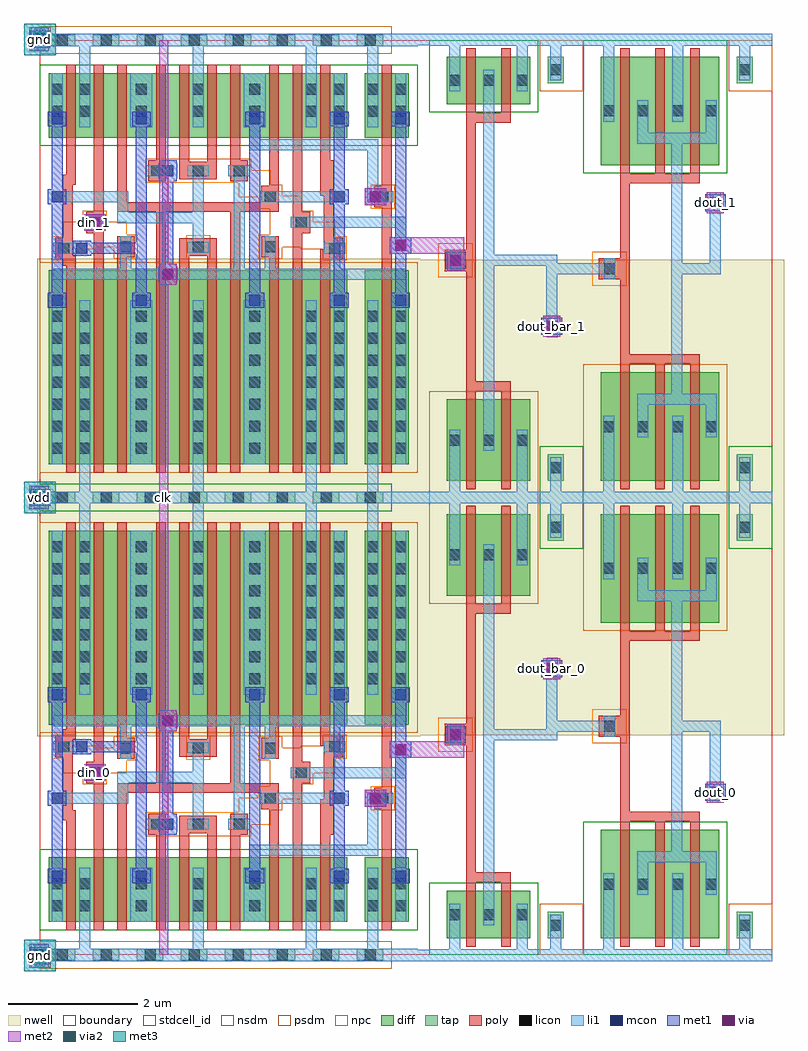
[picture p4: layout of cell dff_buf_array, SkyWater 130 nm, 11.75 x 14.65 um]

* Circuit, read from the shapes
.subckt dff_buf_array clk din_0 din_1 dout_0 dout_1 dout_bar_0 dout_bar_1 gnd vdd
XM1 gnd n1 n2 gnd sky130_fd_pr__nfet_01v8 w=1 l=0.15
XM2 gnd n3 n4 gnd sky130_fd_pr__nfet_01v8 w=1 l=0.15
XM3 n5 din_0 gnd gnd sky130_fd_pr__nfet_01v8 w=1 l=0.15
XM4 n6 din_1 gnd gnd sky130_fd_pr__nfet_01v8 w=1 l=0.15
XM5 n1 n7 n5 gnd sky130_fd_pr__nfet_01v8 w=1 l=0.15
XM6 n3 n8 n6 gnd sky130_fd_pr__nfet_01v8 w=1 l=0.15
XM7 n9 clk n1 gnd sky130_fd_pr__nfet_01v8 w=1 l=0.15
XM8 n10 clk n3 gnd sky130_fd_pr__nfet_01v8 w=1 l=0.15
XM9 gnd n2 n9 gnd sky130_fd_pr__nfet_01v8 w=1 l=0.15
XM10 gnd n4 n10 gnd sky130_fd_pr__nfet_01v8 w=1 l=0.15
XM11 n11 n2 gnd gnd sky130_fd_pr__nfet_01v8 w=1 l=0.15
XM12 n12 n4 gnd gnd sky130_fd_pr__nfet_01v8 w=1 l=0.15
XM13 dff_buf_0_0/dff_0/ON clk n11 gnd sky130_fd_pr__nfet_01v8 w=1 l=0.15
XM14 dff_buf_0_1/dff_0/ON clk n12 gnd sky130_fd_pr__nfet_01v8 w=1 l=0.15
XM15 n13 n7 dff_buf_0_0/dff_0/ON gnd sky130_fd_pr__nfet_01v8 w=1 l=0.15
XM16 n14 n8 dff_buf_0_1/dff_0/ON gnd sky130_fd_pr__nfet_01v8 w=1 l=0.15
XM17 gnd dff_buf_0_0/pinv_1/A n13 gnd sky130_fd_pr__nfet_01v8 w=1 l=0.15
XM18 gnd dff_buf_0_1/pinv_1/A n14 gnd sky130_fd_pr__nfet_01v8 w=1 l=0.15
XM19 n7 clk gnd gnd sky130_fd_pr__nfet_01v8 w=1 l=0.15
XM20 n8 clk gnd gnd sky130_fd_pr__nfet_01v8 w=1 l=0.15
XM21 dff_buf_0_0/pinv_1/A dff_buf_0_0/dff_0/ON gnd gnd sky130_fd_pr__nfet_01v8 w=1 l=0.15
XM22 dff_buf_0_1/pinv_1/A dff_buf_0_1/dff_0/ON gnd gnd sky130_fd_pr__nfet_01v8 w=1 l=0.15
XM23 dout_bar_0 dff_buf_0_0/pinv_1/A gnd gnd sky130_fd_pr__nfet_01v8 w=0.74 l=0.15 m=2
XM24 dout_bar_1 dff_buf_0_1/pinv_1/A gnd gnd sky130_fd_pr__nfet_01v8 w=0.74 l=0.15 m=2
XM25 dout_0 dout_bar_0 gnd gnd sky130_fd_pr__nfet_01v8 w=1.68 l=0.15 m=3
XM26 dout_1 dout_bar_1 gnd gnd sky130_fd_pr__nfet_01v8 w=1.68 l=0.15 m=3
XM27 vdd n1 n2 vdd sky130_fd_pr__pfet_01v8 w=3 l=0.15
XM28 vdd n3 n4 vdd sky130_fd_pr__pfet_01v8 w=3 l=0.15
XM29 n15 din_0 vdd vdd sky130_fd_pr__pfet_01v8 w=3 l=0.15
XM30 n16 din_1 vdd vdd sky130_fd_pr__pfet_01v8 w=3 l=0.15
XM31 n1 clk n15 vdd sky130_fd_pr__pfet_01v8 w=3 l=0.15
XM32 n3 clk n16 vdd sky130_fd_pr__pfet_01v8 w=3 l=0.15
XM33 n17 n7 n1 vdd sky130_fd_pr__pfet_01v8 w=3 l=0.15
XM34 n18 n8 n3 vdd sky130_fd_pr__pfet_01v8 w=3 l=0.15
XM35 vdd n2 n17 vdd sky130_fd_pr__pfet_01v8 w=3 l=0.15
XM36 vdd n4 n18 vdd sky130_fd_pr__pfet_01v8 w=3 l=0.15
XM37 n19 n2 vdd vdd sky130_fd_pr__pfet_01v8 w=3 l=0.15
XM38 n20 n4 vdd vdd sky130_fd_pr__pfet_01v8 w=3 l=0.15
XM39 dff_buf_0_0/dff_0/ON n7 n19 vdd sky130_fd_pr__pfet_01v8 w=3 l=0.15
XM40 dff_buf_0_1/dff_0/ON n8 n20 vdd sky130_fd_pr__pfet_01v8 w=3 l=0.15
XM41 n21 clk dff_buf_0_0/dff_0/ON vdd sky130_fd_pr__pfet_01v8 w=3 l=0.15
XM42 n22 clk dff_buf_0_1/dff_0/ON vdd sky130_fd_pr__pfet_01v8 w=3 l=0.15
XM43 vdd dff_buf_0_0/pinv_1/A n21 vdd sky130_fd_pr__pfet_01v8 w=3 l=0.15
XM44 vdd dff_buf_0_1/pinv_1/A n22 vdd sky130_fd_pr__pfet_01v8 w=3 l=0.15
XM45 n7 clk vdd vdd sky130_fd_pr__pfet_01v8 w=3 l=0.15
XM46 n8 clk vdd vdd sky130_fd_pr__pfet_01v8 w=3 l=0.15
XM47 dff_buf_0_0/pinv_1/A dff_buf_0_0/dff_0/ON vdd vdd sky130_fd_pr__pfet_01v8 w=3 l=0.15
XM48 dff_buf_0_1/pinv_1/A dff_buf_0_1/dff_0/ON vdd vdd sky130_fd_pr__pfet_01v8 w=3 l=0.15
XM49 dout_bar_0 dff_buf_0_0/pinv_1/A vdd vdd sky130_fd_pr__pfet_01v8 w=1.26 l=0.15 m=2
XM50 dout_bar_1 dff_buf_0_1/pinv_1/A vdd vdd sky130_fd_pr__pfet_01v8 w=1.26 l=0.15 m=2
XM51 dout_0 dout_bar_0 vdd vdd sky130_fd_pr__pfet_01v8 w=1.68 l=0.15 m=3
XM52 dout_1 dout_bar_1 vdd vdd sky130_fd_pr__pfet_01v8 w=1.68 l=0.15 m=3
.ends

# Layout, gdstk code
import gdstk
lib = gdstk.Library(unit=1e-6, precision=1e-09)
def R(c, l, rs):  # rectangles x0, y0, x1, y1
    for r in rs: c.add(gdstk.rectangle(r[:2], r[2:], *l))
def A(c, l, x, y, w, h, nx, ny, dx, dy):  # array of equal rectangles
    R(c, l, [(x+i*dx, y+j*dy, x+i*dx+w, y+j*dy+h) for i in range(nx) for j in range(ny)])
nwell = (64, 20)
diff = (65, 20)
tap = (65, 44)
poly = (66, 20)
licon = (66, 44)
li1 = (67, 20)
mcon = (67, 44)
met1 = (68, 20)
via = (68, 44)
met2 = (69, 20)
via2 = (69, 44)
met3 = (70, 20)
stdcell_id = (81, 4)
nsdm = (93, 44)
psdm = (94, 20)
npc = (95, 20)
boundary = (235, 4)

dff = lib.new_cell('dff')
R(dff, nwell, [(-0.04,3.38,5.88,7.335)])
R(dff, diff, [(0.14,0.51,4.75,1.51), (5.02,0.51,5.7,1.51), (0.14,3.56,4.75,6.56), (5.02,3.56,5.7,6.56)])
A(dff, tap, 0.14, -0.085, 0.41, 0.17, 8, 2, 0.68, 7.07)
R(dff, poly, [(0.405,0.38,0.555,2.085), (0.835,0.38,0.985,2.655), (1.195,0.38,1.345,2.505), (1.795,0.38,1.945,1.855), (2.155,0.38,2.305,1.885), (2.585,0.38,2.735,1.885), (2.945,0.38,3.095,1.855), (3.545,0.38,3.695,2.255), (3.905,0.38,4.055,2.655), (4.335,0.38,4.485,1.855), (5.285,0.38,5.435,2.255), (1.675,1.855,1.945,2.185), (2.945,1.855,3.215,2.185), (4.335,1.855,4.54,2.405), (2.155,1.885,2.735,2.155), (0.355,2.085,0.555,2.235), (0.355,2.235,0.505,3.055), (3.425,2.255,3.695,2.505), (5.165,2.255,5.435,2.585), (4.39,2.405,4.54,3.055), (1.195,2.505,3.695,2.655), (5.285,2.585,5.435,6.69), (0.715,2.655,0.985,2.985), (1.795,2.655,1.945,6.69), (2.945,2.655,3.095,6.69), (3.905,2.655,4.175,2.985), (0.835,2.985,0.985,6.69), (3.905,2.985,4.055,6.69), (1.195,3.03,1.465,3.36), (3.425,3.03,3.695,3.36), (0.235,3.055,0.505,3.335), (4.39,3.055,4.69,3.235), (2.155,3.065,2.735,3.335), (4.335,3.235,4.69,3.385), (0.235,3.335,0.555,3.385), (2.155,3.335,2.305,6.69), (2.585,3.335,2.735,6.69), (1.195,3.36,1.345,6.69), (3.545,3.36,3.695,6.69), (0.35,3.385,0.555,3.485), (4.335,3.385,4.485,6.69), (0.405,3.485,0.555,6.69)])
A(dff, licon, 0.26, -0.085, 0.17, 0.17, 8, 2, 0.68, 7.07)
A(dff, licon, 0.61, 0.675, 0.17, 0.17, 5, 2, 0.875, 0.34)
A(dff, licon, 1.725, 1.935, 0.17, 0.17, 3, 1, 0.635, 0)
A(dff, licon, 0.18, 4.185, 0.17, 0.17, 1, 7, 0, 0.34)
A(dff, licon, 0.61, 4.185, 0.17, 0.17, 5, 7, 0.875, 0.34)
A(dff, licon, 4.54, 4.185, 0.17, 0.17, 1, 7, 0, 0.34)
A(dff, licon, 5.06, 4.185, 0.17, 0.17, 1, 7, 0, 0.34)
A(dff, licon, 5.49, 4.185, 0.17, 0.17, 1, 7, 0, 0.34)
R(dff, licon, [(0.18,0.675,0.35,0.845), (4.54,0.675,4.71,0.845), (5.06,0.675,5.23,0.845), (5.49,0.675,5.66,0.845), (0.18,1.015,0.35,1.185), (4.54,1.015,4.71,1.185), (5.06,1.015,5.23,1.185), (5.49,1.015,5.66,1.185), (3.475,2.335,3.645,2.505), (5.215,2.335,5.385,2.505), (0.765,2.735,0.935,2.905), (3.955,2.735,4.125,2.905), (1.245,3.11,1.415,3.28), (3.475,3.11,3.645,3.28), (2.36,3.115,2.53,3.285), (0.285,3.135,0.455,3.305), (4.47,3.135,4.64,3.305)])
A(dff, li1, 0.61, 0.1, 0.17, 1.25, 3, 1, 1.75, 0)
A(dff, li1, 0.61, 4.02, 0.17, 2.96, 3, 1, 1.75, 0)
R(dff, li1, [(0,-0.1,5.84,0.1), (0,-0.1,5.84,0.1), (5.06,0.1,5.23,1.35), (0.18,0.51,0.35,1.35), (1.4,0.51,1.74,1.35), (3.15,0.51,3.49,1.35), (4.54,0.51,4.71,1.355), (5.49,0.51,5.66,1.355), (3.235,1.35,3.405,1.535), (3.235,1.535,5.23,1.705), (5.06,1.705,5.23,2.335), (1.64,1.935,2.065,2.105), (2.28,1.935,2.61,2.105), (2.915,1.935,3.245,2.105), (2.36,2.105,2.53,2.66), (2.995,2.105,3.165,3.535), (0.18,2.335,1.365,2.505), (3.395,2.335,4.71,2.505), (5.06,2.335,5.465,2.505), (1.195,2.505,1.365,2.66), (1.195,2.66,2.53,2.83), (0.685,2.735,1.015,2.905), (3.875,2.735,5.66,2.905), (2.36,2.83,2.53,3.115), (5.49,2.905,5.66,3.26), (1.245,3.03,1.415,3.535), (3.475,3.03,3.645,3.535), (2.28,3.115,2.61,3.285), (0.205,3.135,0.735,3.305), (4.39,3.135,4.72,3.305), (4.47,3.305,4.64,3.535), (0.205,3.535,5.66,3.705), (0.18,3.935,0.35,6.56), (1.485,3.935,1.655,4.02), (3.235,3.935,3.405,4.02), (4.54,3.935,4.71,6.56), (5.49,3.935,5.66,6.56), (1.4,4.02,1.74,6.56), (3.15,4.02,3.49,6.56), (5.06,4.02,5.23,6.98), (0,6.98,5.84,7.16), (0,6.98,5.84,7.16)])
R(dff, mcon, [(0.18,1.135,0.35,1.305), (1.485,1.135,1.655,1.305), (3.235,1.135,3.405,1.305), (4.54,1.135,4.71,1.305), (5.49,1.135,5.66,1.305), (1.895,1.935,2.065,2.105), (0.18,2.335,0.35,2.505), (4.54,2.335,4.71,2.505), (5.1,2.335,5.27,2.505), (0.765,2.735,0.935,2.905), (5.49,3.09,5.66,3.26), (0.565,3.135,0.735,3.305), (1.895,3.535,2.065,3.705), (0.18,3.935,0.35,4.105), (1.485,3.935,1.655,4.105), (3.235,3.935,3.405,4.105), (4.54,3.935,4.71,4.105), (5.49,3.935,5.66,4.105)])
R(dff, met1, [(0.12,1.105,0.41,1.335), (1.425,1.105,1.715,1.335), (3.175,1.105,3.465,1.335), (4.48,1.105,4.77,1.335), (5.43,1.105,5.72,1.335), (0.18,1.335,0.35,2.305), (1.485,1.335,1.655,3.135), (3.235,1.335,3.405,3.905), (4.54,1.335,4.71,2.305), (5.49,1.335,5.66,3.045), (1.845,1.86,2.115,1.905), (1.835,1.905,2.125,2.135), (1.845,2.135,2.115,2.18), (1.895,2.18,2.065,3.46), (5.02,2.29,5.35,2.55), (0.12,2.305,0.41,2.535), (4.48,2.305,4.77,2.535), (0.18,2.535,0.35,3.905), (4.54,2.535,4.71,3.905), (0.685,2.69,1.015,2.95), (5.41,3.045,5.74,3.305), (0.505,3.105,0.795,3.135), (0.505,3.135,1.655,3.305), (0.505,3.305,0.795,3.335), (1.485,3.305,1.655,3.905), (5.49,3.305,5.66,3.905), (1.845,3.46,2.115,3.505), (1.835,3.505,2.125,3.735), (1.845,3.735,2.115,3.78), (0.12,3.905,0.41,4.135), (1.425,3.905,1.715,4.135), (3.175,3.905,3.465,4.135), (4.48,3.905,4.77,4.135), (5.43,3.905,5.72,4.135)])
R(dff, via, [(5.11,2.345,5.26,2.495), (0.775,2.745,0.925,2.895), (5.5,3.1,5.65,3.25), (1.905,3.545,2.055,3.695)])
R(dff, met2, [(5.02,2.29,5.35,2.55), (0.685,2.69,1.015,2.95), (0.685,2.69,1.015,2.95), (5.41,3.045,5.74,3.305), (5.41,3.045,5.74,3.305), (1.845,3.46,2.115,3.78), (1.845,3.46,2.115,3.78)])
R(dff, stdcell_id, [(0,0,5.84,7.07)])
R(dff, nsdm, [(0,0.385,5.84,1.635), (0,6.86,5.435,7.07), (0,7.07,5.435,7.28)])
R(dff, psdm, [(0,-0.21,5.435,0), (0,0,5.435,0.21), (0,3.435,5.84,6.685)])
R(dff, npc, [(1.625,1.835,3.265,2.01), (1.625,2.01,3.57,2.205), (3.07,2.205,3.57,2.235), (3.07,2.235,3.745,2.41), (5.115,2.235,5.485,2.605), (3.07,2.41,4.05,2.43), (3.375,2.43,4.05,2.605), (3.55,2.605,4.05,2.635), (0.665,2.635,1.035,2.81), (3.55,2.635,4.225,2.81), (0.36,2.81,1.34,3.01), (3.55,2.81,4.565,3.01), (0.36,3.01,1.515,3.035), (3.375,3.01,4.565,3.035), (2.26,3.015,2.63,3.385), (0.185,3.035,1.515,3.205), (3.375,3.035,4.74,3.205), (0.185,3.205,0.86,3.23), (1.145,3.205,1.515,3.38), (3.375,3.205,3.745,3.38), (4.03,3.205,4.74,3.23), (0.185,3.23,0.555,3.405), (4.37,3.23,4.74,3.405)])
R(dff, boundary, [(0,0,5.84,7.07)])
dff.add(gdstk.Label('gnd', (2.72,0), layer=67, texttype=20))
dff.add(gdstk.Label('vdd', (2.74,7.08), layer=67, texttype=20))
dff.add(gdstk.Label('Q', (5.73,3.295), layer=69, texttype=16))
dff.add(gdstk.Label('clk', (2.095,3.765), layer=69, texttype=16))
dff.add(gdstk.Label('ON', (5.035,2.52), layer=69, texttype=16))
dff.add(gdstk.Label('D', (0.695,2.93), layer=69, texttype=16))
dff.add(gdstk.Label('clk', (1.98,3.62), layer=69, texttype=16))
dff.add(gdstk.Label('vdd', (2.92,7.07), layer=67, texttype=16))
dff.add(gdstk.Label('Q', (5.575,3.175), layer=69, texttype=16))
dff.add(gdstk.Label('D', (0.85,2.82), layer=69, texttype=16))
dff.add(gdstk.Label('gnd', (2.92,0), layer=67, texttype=16))

contact_11 = lib.new_cell('contact_11')
R(contact_11, nwell, [(-0.295,-0.255,0.545,0.585)])
R(contact_11, diff, [(0,0.02,0.25,0.31)])
R(contact_11, licon, [(0.04,0.08,0.21,0.25)])
R(contact_11, li1, [(0.04,0,0.21,0.33)])
R(contact_11, stdcell_id, [(-0.295,-0.255,0.545,0.585)])
R(contact_11, psdm, [(-0.125,-0.105,0.375,0.435)])
R(contact_11, boundary, [(-0.295,-0.255,0.545,0.585)])

pmos_m2_w1_260_sli_dli_d = lib.new_cell('pmos_m2_w1_260_sli_dli_da_p')
R(pmos_m2_w1_260_sli_dli_d, nwell, [(-0.27,-0.27,1.56,1.53)])
R(pmos_m2_w1_260_sli_dli_d, diff, [(0,0,1.29,1.26)])
R(pmos_m2_w1_260_sli_dli_d, poly, [(0.3,-0.28,0.99,-0.13), (0.3,-0.13,0.45,1.39), (0.84,-0.13,0.99,1.39)])
A(pmos_m2_w1_260_sli_dli_d, li1, 0.04, 0.465, 0.17, 0.33, 3, 1, 0.52, 0)
R(pmos_m2_w1_260_sli_dli_d, stdcell_id, [(-0.27,-0.27,1.56,1.53)])
R(pmos_m2_w1_260_sli_dli_d, psdm, [(-0.125,-0.125,1.415,1.385)])
R(pmos_m2_w1_260_sli_dli_d, boundary, [(-0.27,-0.27,1.56,1.53)])
pmos_m2_w1_260_sli_dli_d.add(gdstk.Reference(contact_11, (0,0.465)))
pmos_m2_w1_260_sli_dli_d.add(gdstk.Reference(contact_11, (0.52,0.465)))
pmos_m2_w1_260_sli_dli_d.add(gdstk.Reference(contact_11, (1.04,0.465)))
pmos_m2_w1_260_sli_dli_d.add(gdstk.Label('D', (0.645,0.63), layer=67, texttype=16))
pmos_m2_w1_260_sli_dli_d.add(gdstk.Label('S', (0.125,0.63), layer=67, texttype=16))
pmos_m2_w1_260_sli_dli_d.add(gdstk.Label('S', (1.165,0.63), layer=67, texttype=16))
pmos_m2_w1_260_sli_dli_d.add(gdstk.Label('G', (0.645,-0.205), layer=66, texttype=16))

contact_17 = lib.new_cell('contact_17')
R(contact_17, diff, [(0,0.02,0.25,0.31)])
R(contact_17, licon, [(0.04,0.08,0.21,0.25)])
R(contact_17, li1, [(0.04,0,0.21,0.33)])
R(contact_17, stdcell_id, [(-0.125,-0.105,0.375,0.435)])
R(contact_17, nsdm, [(-0.125,-0.105,0.375,0.435)])
R(contact_17, boundary, [(-0.125,-0.105,0.375,0.435)])

nmos_m2_w0_740_sli_dli_d = lib.new_cell('nmos_m2_w0_740_sli_dli_da_p')
R(nmos_m2_w0_740_sli_dli_d, diff, [(0,0,1.29,0.74)])
R(nmos_m2_w0_740_sli_dli_d, poly, [(0.3,-0.13,0.45,0.87), (0.84,-0.13,0.99,0.87), (0.3,0.87,0.99,1.02)])
A(nmos_m2_w0_740_sli_dli_d, li1, 0.04, 0.205, 0.17, 0.33, 3, 1, 0.52, 0)
R(nmos_m2_w0_740_sli_dli_d, stdcell_id, [(-0.125,-0.13,1.415,0.87)])
R(nmos_m2_w0_740_sli_dli_d, nsdm, [(-0.125,-0.125,1.415,0.865)])
R(nmos_m2_w0_740_sli_dli_d, boundary, [(-0.125,-0.13,1.415,0.87)])
nmos_m2_w0_740_sli_dli_d.add(gdstk.Reference(contact_17, (0,0.205)))
nmos_m2_w0_740_sli_dli_d.add(gdstk.Reference(contact_17, (0.52,0.205)))
nmos_m2_w0_740_sli_dli_d.add(gdstk.Reference(contact_17, (1.04,0.205)))
nmos_m2_w0_740_sli_dli_d.add(gdstk.Label('D', (0.645,0.37), layer=67, texttype=16))
nmos_m2_w0_740_sli_dli_d.add(gdstk.Label('S', (0.125,0.37), layer=67, texttype=16))
nmos_m2_w0_740_sli_dli_d.add(gdstk.Label('S', (1.165,0.37), layer=67, texttype=16))
nmos_m2_w0_740_sli_dli_d.add(gdstk.Label('G', (0.645,0.945), layer=66, texttype=16))

contact_24 = lib.new_cell('contact_24')
R(contact_24, nwell, [(-0.295,-0.215,0.545,0.625)])
R(contact_24, tap, [(0,0,0.25,0.41)])
R(contact_24, licon, [(0.04,0.12,0.21,0.29)])
R(contact_24, li1, [(0.04,0.04,0.21,0.37)])
R(contact_24, stdcell_id, [(-0.295,-0.215,0.545,0.625)])
R(contact_24, nsdm, [(-0.125,-0.125,0.375,0.535)])
R(contact_24, boundary, [(-0.295,-0.215,0.545,0.625)])

contact_25 = lib.new_cell('contact_25')
R(contact_25, tap, [(0,0,0.25,0.41)])
R(contact_25, licon, [(0.04,0.12,0.21,0.29)])
R(contact_25, li1, [(0.04,0.04,0.21,0.37)])
R(contact_25, stdcell_id, [(-0.125,-0.125,0.375,0.535)])
R(contact_25, psdm, [(-0.125,-0.125,0.375,0.535)])
R(contact_25, boundary, [(-0.125,-0.125,0.375,0.535)])

contact_12 = lib.new_cell('contact_12')
R(contact_12, poly, [(0,0,0.33,0.33)])
R(contact_12, licon, [(0.08,0.08,0.25,0.25)])
R(contact_12, li1, [(0.08,0,0.25,0.33)])
R(contact_12, stdcell_id, [(-0.1,-0.1,0.43,0.43)])
R(contact_12, npc, [(-0.1,-0.1,0.43,0.43)])
R(contact_12, boundary, [(-0.1,-0.1,0.43,0.43)])

pinv = lib.new_cell('pinv')
R(pinv, nwell, [(-0.18,3.395,2.56,7.355)])
R(pinv, poly, [(0.57,1.275,0.72,5.275), (0.405,3.24,0.57,3.57)])
R(pinv, li1, [(0,-0.085,2.38,0.085), (0.31,-0.085,0.48,0.46), (1.35,-0.085,1.52,0.46), (1.87,0,2.04,0.46), (0.83,0.46,1,6.35), (0.32,3.24,0.49,3.57), (0.915,3.32,1.085,3.49), (0.31,6.02,0.48,7.155), (1.35,6.02,1.52,7.155), (1.87,6.61,2.04,7.07), (0,6.985,2.38,7.155)])
R(pinv, stdcell_id, [(0,0,2.38,7.07), (0,0,2.38,7.07)])
R(pinv, nsdm, [(0,0,1.685,1.12), (1.705,6.28,2.38,7.07)])
R(pinv, psdm, [(1.705,0,2.38,0.79), (0,5.43,1.685,7.07)])
R(pinv, boundary, [(0,0,2.38,7.07), (0,0,2.38,7.07)])
pinv.add(gdstk.Reference(pmos_m2_w1_260_sli_dli_d, (0.27,5.555)))
pinv.add(gdstk.Reference(nmos_m2_w0_740_sli_dli_d, (0.27,0.255)))
pinv.add(gdstk.Reference(contact_24, (1.83,6.405)))
pinv.add(gdstk.Reference(contact_25, (1.83,0.255)))
pinv.add(gdstk.Reference(contact_12, (0.24,3.24)))
pinv.add(gdstk.Label('vdd', (1.19,7.07), layer=67, texttype=16))
pinv.add(gdstk.Label('gnd', (1.19,0), layer=67, texttype=16))
pinv.add(gdstk.Label('Z', (1,3.405), layer=67, texttype=16))
pinv.add(gdstk.Label('A', (0.405,3.405), layer=67, texttype=16))

pmos_m3_w1_680_sli_dli_d = lib.new_cell('pmos_m3_w1_680_sli_dli_da_p')
R(pmos_m3_w1_680_sli_dli_d, nwell, [(-0.27,-0.27,2.1,1.95)])
R(pmos_m3_w1_680_sli_dli_d, diff, [(0,0,1.83,1.68)])
A(pmos_m3_w1_680_sli_dli_d, poly, 0.3, -0.13, 0.15, 1.94, 3, 1, 0.54, 0)
R(pmos_m3_w1_680_sli_dli_d, poly, [(0.3,-0.28,1.53,-0.13)])
R(pmos_m3_w1_680_sli_dli_d, li1, [(0.56,0.335,1.79,0.505), (0.56,0.42,0.73,0.84), (1.62,0.42,1.79,0.84), (0.04,0.675,0.21,1.005), (1.1,0.675,1.27,1.005)])
R(pmos_m3_w1_680_sli_dli_d, stdcell_id, [(-0.27,-0.27,2.1,1.95)])
R(pmos_m3_w1_680_sli_dli_d, psdm, [(-0.125,-0.125,1.955,1.805)])
R(pmos_m3_w1_680_sli_dli_d, boundary, [(-0.27,-0.27,2.1,1.95)])
pmos_m3_w1_680_sli_dli_d.add(gdstk.Reference(contact_11, (0,0.675)))
pmos_m3_w1_680_sli_dli_d.add(gdstk.Reference(contact_11, (0.52,0.675)))
pmos_m3_w1_680_sli_dli_d.add(gdstk.Reference(contact_11, (1.06,0.675)))
pmos_m3_w1_680_sli_dli_d.add(gdstk.Reference(contact_11, (1.58,0.675)))
pmos_m3_w1_680_sli_dli_d.add(gdstk.Label('D', (1.175,0.42), layer=67, texttype=16))
pmos_m3_w1_680_sli_dli_d.add(gdstk.Label('S', (1.185,0.84), layer=67, texttype=16))
pmos_m3_w1_680_sli_dli_d.add(gdstk.Label('S', (0.125,0.84), layer=67, texttype=16))
pmos_m3_w1_680_sli_dli_d.add(gdstk.Label('G', (0.915,-0.205), layer=66, texttype=16))

nmos_m3_w1_680_sli_dli_d = lib.new_cell('nmos_m3_w1_680_sli_dli_da_p')
R(nmos_m3_w1_680_sli_dli_d, diff, [(0,0,1.83,1.68)])
A(nmos_m3_w1_680_sli_dli_d, poly, 0.3, -0.13, 0.15, 1.94, 3, 1, 0.54, 0)
R(nmos_m3_w1_680_sli_dli_d, poly, [(0.3,1.81,1.53,1.96)])
R(nmos_m3_w1_680_sli_dli_d, li1, [(0.04,0.675,0.21,1.005), (1.1,0.675,1.27,1.005), (0.56,0.84,0.73,1.26), (1.62,0.84,1.79,1.26), (0.56,1.175,1.79,1.345)])
R(nmos_m3_w1_680_sli_dli_d, stdcell_id, [(-0.125,-0.13,1.955,1.81)])
R(nmos_m3_w1_680_sli_dli_d, nsdm, [(-0.125,-0.125,1.955,1.805)])
R(nmos_m3_w1_680_sli_dli_d, boundary, [(-0.125,-0.13,1.955,1.81)])
nmos_m3_w1_680_sli_dli_d.add(gdstk.Reference(contact_17, (0,0.675)))
nmos_m3_w1_680_sli_dli_d.add(gdstk.Reference(contact_17, (0.52,0.675)))
nmos_m3_w1_680_sli_dli_d.add(gdstk.Reference(contact_17, (1.06,0.675)))
nmos_m3_w1_680_sli_dli_d.add(gdstk.Reference(contact_17, (1.58,0.675)))
nmos_m3_w1_680_sli_dli_d.add(gdstk.Label('D', (1.175,1.26), layer=67, texttype=16))
nmos_m3_w1_680_sli_dli_d.add(gdstk.Label('S', (1.185,0.84), layer=67, texttype=16))
nmos_m3_w1_680_sli_dli_d.add(gdstk.Label('S', (0.125,0.84), layer=67, texttype=16))
nmos_m3_w1_680_sli_dli_d.add(gdstk.Label('G', (0.915,1.885), layer=66, texttype=16))

pinv_0 = lib.new_cell('pinv_0')
R(pinv_0, nwell, [(-0.18,3.395,3.1,7.355)])
R(pinv_0, poly, [(0.57,2.215,0.72,4.855), (0.405,3.37,0.57,3.7)])
R(pinv_0, li1, [(0,-0.085,2.92,0.085), (0.31,-0.085,0.48,0.93), (1.37,-0.085,1.54,0.93), (2.41,0,2.58,0.46), (1.36,1.43,1.53,5.64), (0.32,3.37,0.49,3.7), (1.445,3.45,1.615,3.62), (0.31,5.81,0.48,7.155), (1.37,5.81,1.54,7.155), (2.41,6.61,2.58,7.07), (0,6.985,2.92,7.155)])
R(pinv_0, stdcell_id, [(0,0,2.92,7.07), (0,0,2.92,7.07)])
R(pinv_0, nsdm, [(0,0,2.225,2.06), (2.245,6.28,2.92,7.07)])
R(pinv_0, psdm, [(2.245,0,2.92,0.79), (0,5.01,2.225,7.07)])
R(pinv_0, boundary, [(0,0,2.92,7.07), (0,0,2.92,7.07)])
pinv_0.add(gdstk.Reference(pmos_m3_w1_680_sli_dli_d, (0.27,5.135)))
pinv_0.add(gdstk.Reference(nmos_m3_w1_680_sli_dli_d, (0.27,0.255)))
pinv_0.add(gdstk.Reference(contact_24, (2.37,6.405)))
pinv_0.add(gdstk.Reference(contact_25, (2.37,0.255)))
pinv_0.add(gdstk.Reference(contact_12, (0.24,3.37)))
pinv_0.add(gdstk.Label('vdd', (1.46,7.07), layer=67, texttype=16))
pinv_0.add(gdstk.Label('gnd', (1.46,0), layer=67, texttype=16))
pinv_0.add(gdstk.Label('Z', (1.53,3.535), layer=67, texttype=16))
pinv_0.add(gdstk.Label('A', (0.405,3.535), layer=67, texttype=16))

contact_7 = lib.new_cell('contact_7')
R(contact_7, li1, [(0.06,0,0.23,0.33)])
R(contact_7, mcon, [(0.06,0.08,0.23,0.25)])
R(contact_7, met1, [(0,0.05,0.29,0.28)])
R(contact_7, stdcell_id, [(0,0,0.29,0.33)])
R(contact_7, boundary, [(0,0,0.29,0.33)])

contact_8 = lib.new_cell('contact_8')
R(contact_8, met1, [(0,0.03,0.32,0.29)])
R(contact_8, via, [(0.085,0.085,0.235,0.235)])
R(contact_8, met2, [(0.03,0,0.29,0.32)])
R(contact_8, stdcell_id, [(0,0,0.32,0.32)])
R(contact_8, boundary, [(0,0,0.32,0.32)])

dff_buf_0 = lib.new_cell('dff_buf_0')
R(dff_buf_0, li1, [(0,-0.1,11.32,0.08), (10.355,2.515,10.525,3.535), (7.02,3.32,7.91,3.49), (7.825,3.32,7.995,3.49), (7.825,3.405,7.995,3.535), (7.825,3.405,7.995,4.425), (7.825,3.45,7.995,3.62), (7.91,3.45,8.805,3.62), (9.93,3.45,10.44,3.62), (10.355,3.45,10.525,3.62), (0,6.98,11.32,7.16)])
R(dff_buf_0, met1, [(10.28,2.385,10.6,2.645), (6.265,3.275,6.585,3.535), (7.755,4.295,8.075,4.555)])
R(dff_buf_0, met2, [(10.37,2.445,10.51,2.585), (0.685,2.69,1.015,2.95), (5.575,3.045,6.425,3.305), (6.295,3.045,6.555,3.305), (6.295,3.175,6.555,3.405), (1.845,3.46,2.115,3.78), (7.84,4.355,7.98,4.495)])
R(dff_buf_0, stdcell_id, [(0,0,11.32,7.07)])
R(dff_buf_0, boundary, [(0,0,11.32,7.07)])
dff_buf_0.add(gdstk.Reference(dff, (0,0)))
dff_buf_0.add(gdstk.Reference(pinv, (6.02,0)))
dff_buf_0.add(gdstk.Reference(pinv_0, (8.4,0)))
dff_buf_0.add(gdstk.Reference(contact_7, (6.28,3.24)))
dff_buf_0.add(gdstk.Reference(contact_8, (6.265,3.245)))
dff_buf_0.add(gdstk.Reference(contact_7, (10.295,2.35)))
dff_buf_0.add(gdstk.Reference(contact_8, (10.28,2.355)))
dff_buf_0.add(gdstk.Reference(contact_7, (7.77,4.26)))
dff_buf_0.add(gdstk.Reference(contact_8, (7.75,4.265)))
dff_buf_0.add(gdstk.Label('vdd', (5.66,7.07), layer=67, texttype=16))
dff_buf_0.add(gdstk.Label('Q', (10.44,2.515), layer=69, texttype=16))
dff_buf_0.add(gdstk.Label('clk', (1.98,3.62), layer=69, texttype=16))
dff_buf_0.add(gdstk.Label('gnd', (5.66,-0.01), layer=67, texttype=16))
dff_buf_0.add(gdstk.Label('D', (0.85,2.82), layer=69, texttype=16))
dff_buf_0.add(gdstk.Label('Qb', (7.91,4.425), layer=69, texttype=16))

contact_9 = lib.new_cell('contact_9')
R(contact_9, met2, [(0.025,0,0.305,0.37)])
R(contact_9, via2, [(0.065,0.085,0.265,0.285)])
R(contact_9, met3, [(0,0.02,0.33,0.35)])
R(contact_9, stdcell_id, [(0,0,0.33,0.37)])
R(contact_9, boundary, [(0,0,0.33,0.37)])

dff_buf_array = lib.new_cell('dff_buf_array')
R(dff_buf_array, li1, [(0,-0.1,11.32,0.08), (0,6.98,11.32,7.16), (0,6.98,11.32,7.16), (0,14.06,11.32,14.24)])
R(dff_buf_array, met1, [(-0.16,-0.14,0.16,0.12), (-0.16,6.94,0.16,7.2), (-0.16,6.94,0.16,7.2), (-0.16,14.02,0.16,14.28)])
R(dff_buf_array, met2, [(-0.14,-0.13,0.14,0.11), (1.845,0,1.985,14.14), (10.37,2.445,10.51,2.585), (0.685,2.69,1.015,2.95), (7.84,4.355,7.98,4.495), (-0.14,6.95,0.14,7.19), (-0.14,6.95,0.14,7.19), (7.84,9.645,7.98,9.785), (0.685,11.19,1.015,11.45), (10.37,11.555,10.51,11.695), (-0.14,14.03,0.14,14.27)])
A(dff_buf_array, met3, -0.245, -0.255, 0.49, 0.49, 1, 3, 0, 7.08)
R(dff_buf_array, stdcell_id, [(0,0,11.32,14.14)])
R(dff_buf_array, boundary, [(0,0,11.32,14.14)])
dff_buf_array.add(gdstk.Reference(dff_buf_0, (0,0)))
dff_buf_array.add(gdstk.Reference(dff_buf_0, (0,14.14), x_reflection=True))
dff_buf_array.add(gdstk.Reference(contact_7, (-0.145,6.905)))
dff_buf_array.add(gdstk.Reference(contact_8, (-0.16,6.91)))
dff_buf_array.add(gdstk.Reference(contact_9, (-0.165,6.885)))
dff_buf_array.add(gdstk.Reference(contact_7, (-0.145,-0.175)))
dff_buf_array.add(gdstk.Reference(contact_8, (-0.16,-0.17)))
dff_buf_array.add(gdstk.Reference(contact_9, (-0.165,-0.195)))
dff_buf_array.add(gdstk.Reference(contact_7, (-0.145,6.905)))
dff_buf_array.add(gdstk.Reference(contact_8, (-0.16,6.91)))
dff_buf_array.add(gdstk.Reference(contact_9, (-0.165,6.885)))
dff_buf_array.add(gdstk.Reference(contact_7, (-0.145,13.985)))
dff_buf_array.add(gdstk.Reference(contact_8, (-0.16,13.99)))
dff_buf_array.add(gdstk.Reference(contact_9, (-0.165,13.965)))
dff_buf_array.add(gdstk.Label('vdd', (0,7.07), layer=70, texttype=16))
dff_buf_array.add(gdstk.Label('clk', (1.915,7.07), layer=69, texttype=16))
dff_buf_array.add(gdstk.Label('dout_1', (10.44,11.625), layer=69, texttype=16))
dff_buf_array.add(gdstk.Label('dout_bar_1', (7.91,9.715), layer=69, texttype=16))
dff_buf_array.add(gdstk.Label('din_1', (0.85,11.32), layer=69, texttype=16))
dff_buf_array.add(gdstk.Label('dout_bar_0', (7.91,4.425), layer=69, texttype=16))
dff_buf_array.add(gdstk.Label('din_0', (0.85,2.82), layer=69, texttype=16))
dff_buf_array.add(gdstk.Label('gnd', (0,-0.01), layer=70, texttype=16))
dff_buf_array.add(gdstk.Label('gnd', (0,14.15), layer=70, texttype=16))
dff_buf_array.add(gdstk.Label('dout_0', (10.44,2.515), layer=69, texttype=16))

lib.write_gds('dff_buf_array.gds')
